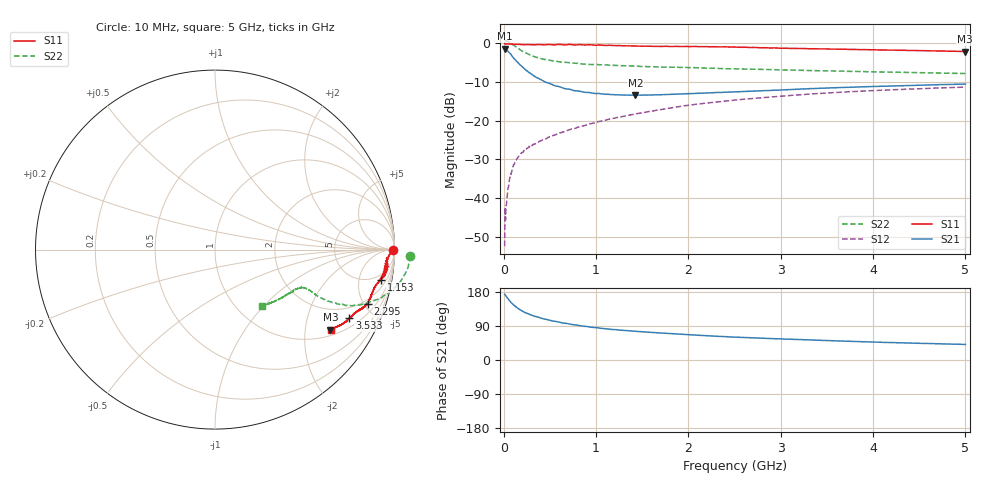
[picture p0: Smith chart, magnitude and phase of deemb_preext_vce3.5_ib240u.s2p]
! Forward-simulated: Re-embedded (raw/measured) — deemb_preext_vce3.5_ib240u.s2p
!  source_deembedded_file = deemb_preext_vce3.5_ib240u.s2p
!  Cpbe_fF = 22.0
!  Cpce_fF = 18.0
!  Cpbc_fF = 5.0
!  Lb_pH = 45.0
!  Lc_pH = 42.0
!  Le_pH = 6.0
!  Rpb_ohm = 0.0
!  Rpc_ohm = 0.0
!  Rpe_ohm = 0.0
# Hz S DB R 50
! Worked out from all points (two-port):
!   1001 points, 10 MHz to 5 GHz, reference 50 ohm
!   highest |S21| = -1.40 dB at 10 MHz (marker M1); lowest = -13.4 dB at 1.427 GHz (marker M2)
!   |S21| within 3 dB of the highest: start of sweep to 129.5 MHz
!   lowest |S11| = -2.1 dB at 4.995 GHz (marker M3), VSWR 8.18, Z = 59.5 - j137 ohm
!   |S11| at or under -10 dB: nowhere
!   |S22| runs from -7.8 to 0.7 dB; largest |S21 - S12| = 0.85
!   S11 on the Smith chart (normalised r, x): 10 MHz: open; 1.153 GHz: 3, -10; 2.295 GHz: 1.62, -5.34; 3.533 GHz: 1.41, -3.66; 5 GHz: 1.19, -2.74
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1e7  -0.05 -0.2  -1.40 173.4  -52.39 -30.0  0.72 -1.8
2.497e7  -0.18 -0.5  -1.70 169.2  -42.09 67.1  0.67 -5.1
3.994e7  -0.17 -0.8  -1.97 163.7  -39.14 70.0  0.53 -8.0
6.988e7  -0.19 -1.4  -2.63 154.7  -34.55 65.9  0.12 -12.8
8.984e7  -0.25 -1.7  -3.26 149.4  -32.86 65.0  -0.22 -15.2
1.1479e8  -0.28 -2.0  -4.02 143.7  -31.27 61.9  -0.62 -17.8
1.6469e8  -0.28 -2.4  -5.26 134.5  -29.12 56.6  -1.44 -21.3
2.0461e8  -0.37 -2.7  -6.16 128.9  -28.19 54.1  -2.09 -23.1
2.6449e8  -0.36 -2.9  -7.36 122.1  -27.00 52.0  -2.78 -24.1
4.092e8  -0.37 -4.6  -9.46 110.0  -25.13 51.6  -4.01 -24.5
5.589e8  -0.42 -5.3  -11.01 101.7  -23.64 52.5  -4.62 -23.5
8.4333e8  -0.37 -8.2  -12.49 89.9  -21.42 54.5  -5.35 -23.2
1.15271e9  -0.54 -10.3  -13.23 81.1  -19.56 54.9  -5.68 -23.9
1.42716e9  -0.72 -12.4  -13.42 75.7  -18.27 54.7  -5.90 -25.5
1.67666e9  -0.80 -14.2  -13.33 71.5  -17.21 54.4  -6.13 -27.1
2.29542e9  -0.88 -19.5  -12.71 62.9  -15.16 50.9  -6.47 -31.6
2.505e9  -0.98 -20.9  -12.54 60.2  -14.67 49.6  -6.60 -33.2
3.33833e9  -1.42 -25.6  -11.69 52.6  -13.10 45.0  -7.05 -39.5
3.53294e9  -1.51 -26.9  -11.54 51.0  -12.79 43.8  -7.15 -40.9
4.17166e9  -1.78 -30.9  -11.05 46.3  -12.07 40.2  -7.44 -45.2
4.99501e9  -2.13 -34.7  -10.54 41.1  -11.34 36.2  -7.81 -50.4
5e9  -2.13 -34.7  -10.53 41.0  -11.32 36.3  -7.81 -50.3
